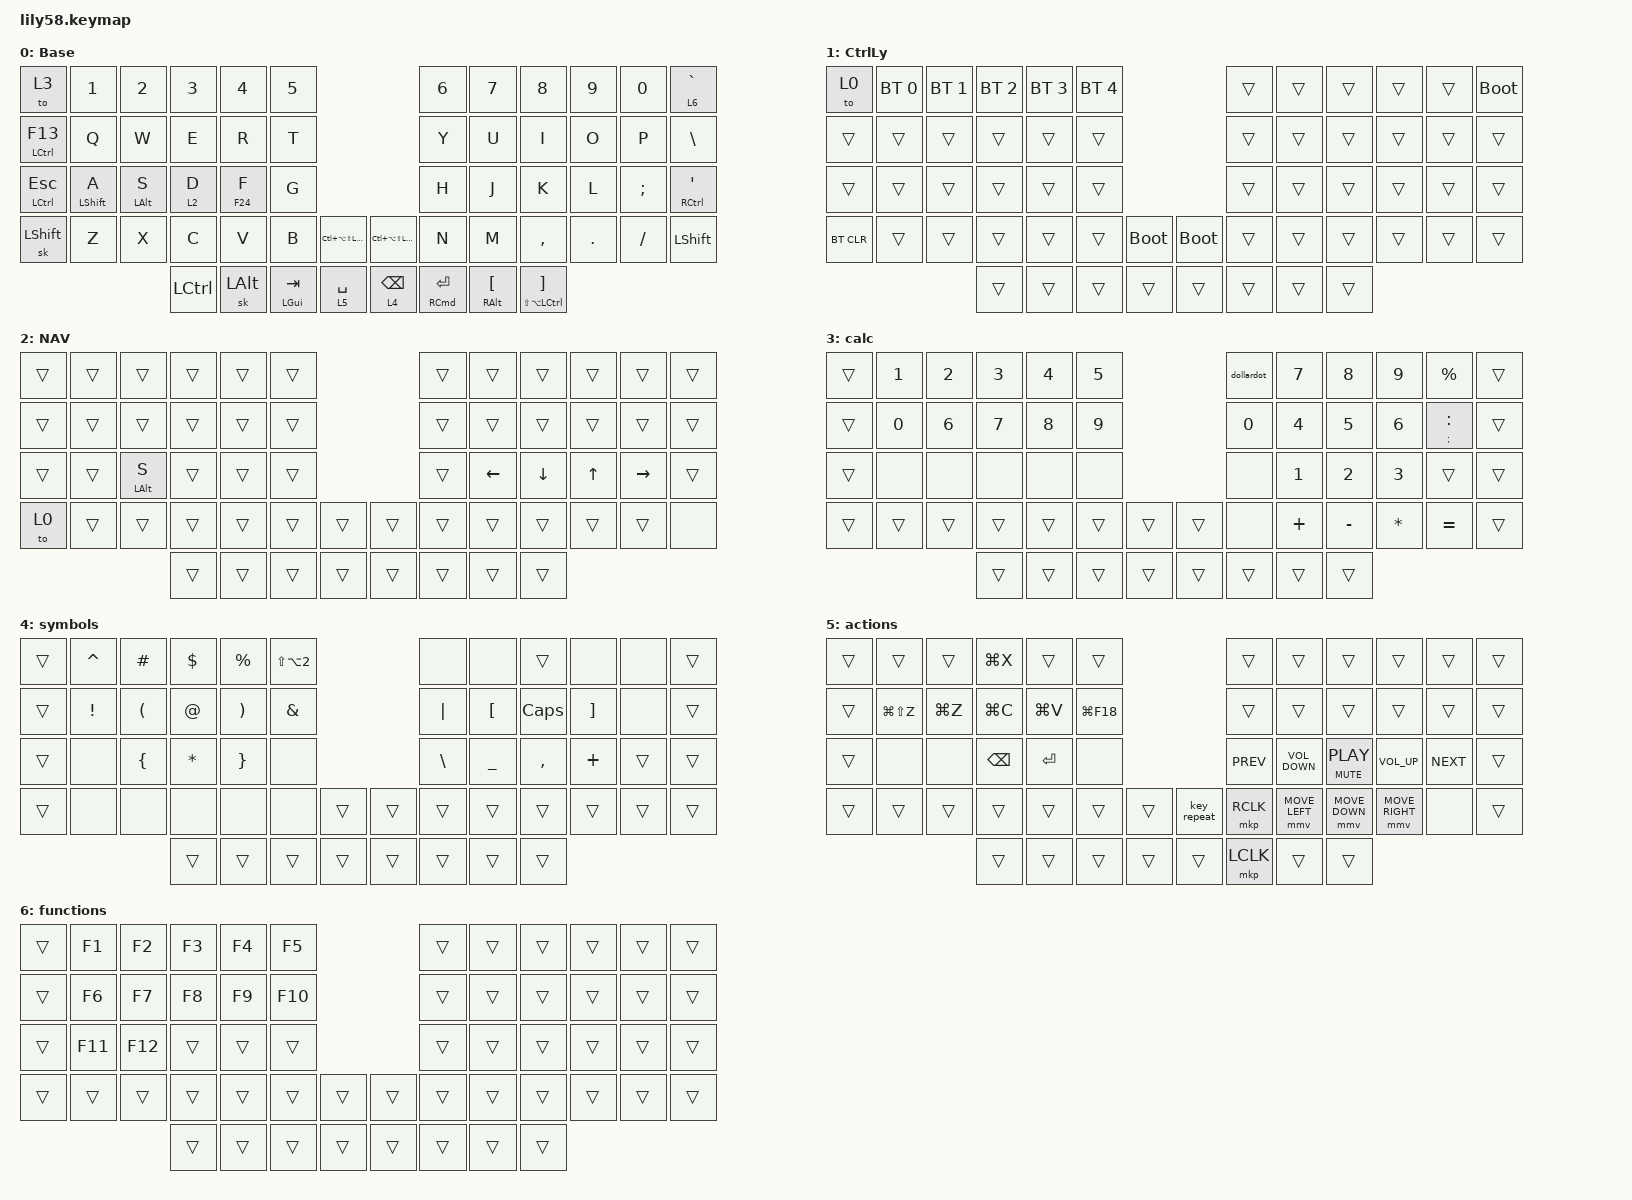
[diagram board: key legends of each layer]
/*
 * Copyright (c) 2020 The ZMK Contributors
 *
 * SPDX-License-Identifier: MIT
 */

#define ZMK_POINTING_DEFAULT_MOVE_VAL 1500  // default: 600
#define ZMK_POINTING_DEFAULT_SCRL_VAL 20    // default: 10

#include <behaviors.dtsi>
#include <dt-bindings/zmk/bt.h>
#include <dt-bindings/zmk/keys.h>
#include <dt-bindings/zmk/pointing.h>

&mt {
    tapping-term-ms = <180>;
    flavor = "balanced";
};

/ {
    combos {
        compatible = "zmk,combos";

        ControlLY {
            bindings = <&to 1>;
            key-positions = <2 3 4>;
            slow-release;
            layers = <0 2 3 4>;
        };

        Minus {
            bindings = <&kp MINUS>;
            key-positions = <45 46>;
            layers = <0 2>;
        };

        Equal {
            bindings = <&kp EQUAL>;
            key-positions = <46 47>;
            layers = <0 2>;
        };

        Esc {
            bindings = <&kp ESC>;
            key-positions = <32 33>;
            layers = <0>;
        };

        CtrlSh {
            bindings = <&kp LS(LCTRL)>;
            key-positions = <24 25>;
        };

        F13combo {
            bindings = <&kp F13>;
            key-positions = <27 28>;
        };
    };

    behaviors {
        tovh: tovh {
            compatible = "zmk,behavior-hold-tap";
            label = "TOVH";
            #binding-cells = <2>;
            flavor = "tap-preferred";
            tapping-term-ms = <180>;
            bindings = <&kp>, <&kp>;

            quick-tap-ms = <180>;
        };

        hovt: hovt {
            compatible = "zmk,behavior-hold-tap";
            label = "HOVT";
            #binding-cells = <2>;
            tapping-term-ms = <180>;
            bindings = <&kp>, <&kp>;

            quick-tap-ms = <150>;
        };

        tovhLt: tovhLt {
            compatible = "zmk,behavior-hold-tap";
            label = "TOVHLT";
            bindings = <&mo>, <&kp>;

            #binding-cells = <2>;
            tapping-term-ms = <180>;
            flavor = "tap-preferred";
            retro-tap;
        };

        capture: capture {
            compatible = "zmk,behavior-tap-dance";
            label = "CAPTURE";
            #binding-cells = <0>;
            bindings = <&tovh LG(V) LG(C)>, <&kp LG(X)>;

            tapping-term-ms = <200>;
        };

        hovtRepeat: hovtRepeat {
            compatible = "zmk,behavior-hold-tap";
            label = "HOVTREPEAT";
            #binding-cells = <2>;
            tapping-term-ms = <180>;
            bindings = <&kp>, <&key_repeat>;

            quick-tap-ms = <150>;
            retro-tap;
        };

        hovtLy: hovtLy {
            compatible = "zmk,behavior-hold-tap";
            label = "HOVTLY";
            bindings = <&kp>, <&to>;

            #binding-cells = <2>;
            tapping-term-ms = <0>;
            flavor = "hold-preferred";
        };

        app_mode: app_mode {
            compatible = "zmk,behavior-tap-dance";
            label = "APP_MODE";
            #binding-cells = <0>;
            bindings = <&hovt F18 K_CANCEL>, <&kp LG(F18)>;

            tapping-term-ms = <160>;
        };
    };

    macros {
        dollardot: dollardot {
            compatible = "zmk,behavior-macro";
            #binding-cells = <0>;
            bindings = <&kp DLLR &kp DOT>;
            label = "DOLLARDOT";
        };
    };

    keymap {
        compatible = "zmk,keymap";

        zero {
            // ------------------------------------------------------------------------------------------------------------
            // |  ESC  |  1  |  2  |  3   |  4   |  5   |                   |  6   |  7    |  8    |  9   |   0   |   `   |
            // |  TAB  |  Q  |  W  |  E   |  R   |  T   |                   |  Y   |  U    |  I    |  O   |   P   |   -   |
            // |  CTRL |  A  |  S  |  D   |  F   |  G   |                   |  H   |  J    |  K    |  L   |   ;   |   '   |
            // | SHIFT |  Z  |  X  |  C   |  V   |  B   |   "["  |  |  "]"  |  N   |  M    |  ,    |  .   |   /   | SHIFT |
            //                     | ALT  | GUI  | LOWER|  SPACE |  | ENTER | RAISE| BSPC  | GUI   |

            label = "Base";
            bindings = <
&to 3            &kp NUMBER_1    &kp NUMBER_2  &kp NUMBER_3  &kp NUMBER_4  &kp N5                                                        &kp N6            &kp N7                &kp N8                             &kp N9      &kp N0         &tovhLt 6 GRAVE
&tovh LCTRL F13  &kp Q           &kp W         &kp E         &kp R         &kp T                                                         &kp Y             &kp U                 &kp I                              &kp O       &kp P          &kp BSLH
&tovh LCTRL ESC  &tovh LSHIFT A  &tovh LALT S  &tovhLt 2 D   &tovh F24 F   &kp G                                                         &kp H             &kp J                 &kp K                              &kp L       &kp SEMICOLON  &tovh RCTRL SQT
&sk LSHIFT       &kp Z           &kp X         &kp C         &kp V         &kp B           &kp LC(LA(LS(LGUI)))    &kp LC(LA(LS(LGUI)))  &kp N             &kp M                 &kp COMMA                          &kp PERIOD  &kp SLASH      &kp LSHIFT
                                               &kp LCTRL     &sk LEFT_ALT  &hovt LGUI TAB  &tovhLt 5 SPACE         &tovhLt 4 BACKSPACE   &hovt RCMD ENTER  &tovh RIGHT_ALT LBKT  &tovh LS(LA(LCTRL)) RIGHT_BRACKET
            >;
        };

        ControlLayer {
            bindings = <
&to 0       &bt BT_SEL 0  &bt BT_SEL 1  &bt BT_SEL 2  &bt BT_SEL 3  &bt BT_SEL 4                              &trans  &trans  &trans  &trans  &trans  &bootloader
&trans      &trans        &trans        &trans        &trans        &trans                                    &trans  &trans  &trans  &trans  &trans  &trans
&trans      &trans        &trans        &trans        &trans        &trans                                    &trans  &trans  &trans  &trans  &trans  &trans
&bt BT_CLR  &trans        &trans        &trans        &trans        &trans        &bootloader    &bootloader  &trans  &trans  &trans  &trans  &trans  &trans
                                        &trans        &trans        &trans        &trans         &trans       &trans  &trans  &trans
            >;

            label = "CtrlLy";
        };

        nav {
            bindings = <
&trans  &trans  &trans        &trans  &trans  &trans                    &trans  &trans    &trans    &trans  &trans     &trans
&trans  &trans  &trans        &trans  &trans  &trans                    &trans  &trans    &trans    &trans  &trans     &trans
&trans  &trans  &tovh LALT S  &trans  &trans  &trans                    &trans  &kp LEFT  &kp DOWN  &kp UP  &kp RIGHT  &trans
&to 0   &trans  &trans        &trans  &trans  &trans  &trans    &trans  &trans  &trans    &trans    &trans  &trans     &none
                              &trans  &trans  &trans  &trans    &trans  &trans  &trans    &trans
            >;

            label = "NAV";
        };

        calc {
            bindings = <
&trans  &kp N1  &kp N2  &kp N3  &kp N4  &kp N5                    &dollardot  &kp N7    &kp N8     &kp N9    &kp PERCENT            &trans
&trans  &kp N0  &kp N6  &kp N7  &kp N8  &kp N9                    &kp N0      &kp N4    &kp N5     &kp N6    &tovh SEMICOLON COLON  &trans
&trans  &none   &none   &none   &none   &none                     &none       &kp N1    &kp N2     &kp N3    &trans                 &trans
&trans  &trans  &trans  &trans  &trans  &trans  &trans    &trans  &none       &kp PLUS  &kp MINUS  &kp STAR  &kp EQUAL              &trans
                        &trans  &trans  &trans  &trans    &trans  &trans      &trans    &trans
            >;
        };

        symbols {
            bindings = <
&trans  &kp CARET  &kp POUND       &kp DLLR  &kp PERCENT      &kp LS(LA(N2))                    &none          &none             &trans        &none              &none   &trans
&trans  &kp EXCL   &kp LPAR        &kp AT    &kp RPAR         &kp AMPS                          &kp PIPE       &kp LEFT_BRACKET  &kp CAPSLOCK  &kp RIGHT_BRACKET  &none   &trans
&trans  &none      &kp LEFT_BRACE  &kp STAR  &kp RIGHT_BRACE  &none                             &kp BACKSLASH  &kp UNDER         &kp COMMA     &kp PLUS           &trans  &trans
&trans  &none      &none           &none     &none            &none           &trans    &trans  &trans         &trans            &trans        &trans             &trans  &trans
                                   &trans    &trans           &trans          &trans    &trans  &trans         &trans            &trans
            >;
        };

        actions {
            bindings = <
&trans  &trans         &trans     &kp LG(X)      &trans     &trans                              &trans      &trans             &trans               &trans           &trans      &trans
&trans  &kp LG(LS(Z))  &kp LG(Z)  &kp LG(C)      &kp LG(V)  &kp LG(F18)                         &trans      &trans             &trans               &trans           &trans      &trans
&trans  &none          &none      &kp BACKSPACE  &kp ENTER  &none                               &kp K_PREV  &kp C_VOLUME_DOWN  &tovh K_MUTE C_PLAY  &kp C_VOL_UP     &kp K_NEXT  &trans
&trans  &trans         &trans     &trans         &trans     &trans       &trans    &key_repeat  &mkp RCLK   &mmv MOVE_LEFT     &mmv MOVE_DOWN       &mmv MOVE_RIGHT  &none       &trans
                                  &trans         &trans     &trans       &trans    &trans       &mkp LCLK   &trans             &trans
            >;
        };

        functions {
            bindings = <
&trans  &kp F1   &kp F2   &kp F3  &kp F4  &kp F5                     &trans  &trans  &trans  &trans  &trans  &trans
&trans  &kp F6   &kp F7   &kp F8  &kp F9  &kp F10                    &trans  &trans  &trans  &trans  &trans  &trans
&trans  &kp F11  &kp F12  &trans  &trans  &trans                     &trans  &trans  &trans  &trans  &trans  &trans
&trans  &trans   &trans   &trans  &trans  &trans   &trans    &trans  &trans  &trans  &trans  &trans  &trans  &trans
                          &trans  &trans  &trans   &trans    &trans  &trans  &trans  &trans
            >;
        };
    };
};
